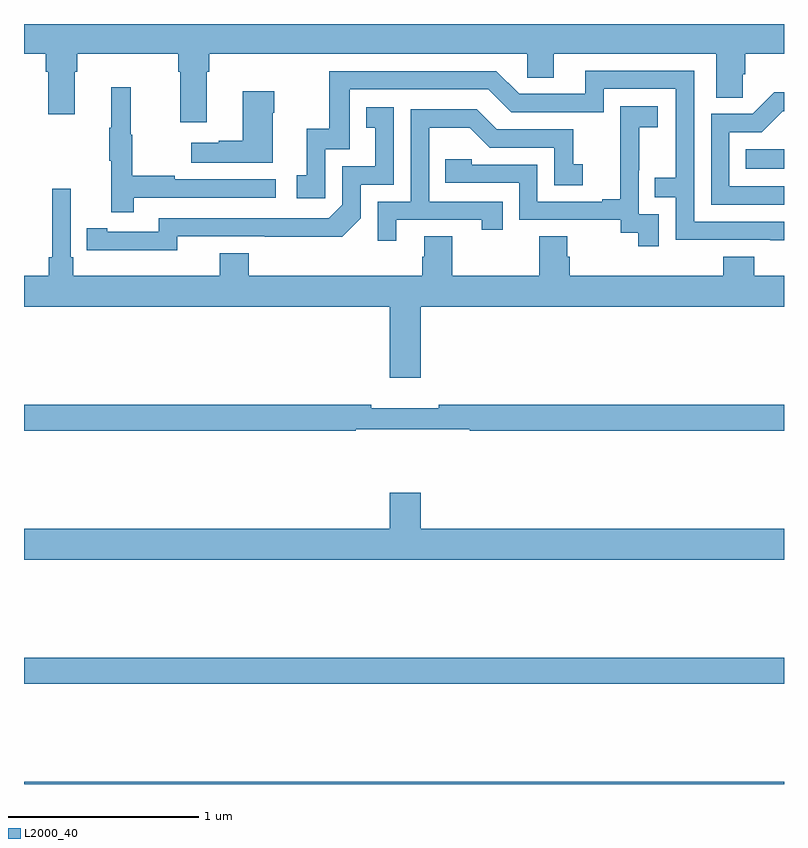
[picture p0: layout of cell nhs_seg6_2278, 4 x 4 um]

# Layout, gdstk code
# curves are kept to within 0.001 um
import gdstk
lib = gdstk.Library(unit=1e-6, precision=1e-09)
def R(c, l, rs):  # rectangles x0, y0, x1, y1
    for r in rs: c.add(gdstk.rectangle(r[:2], r[2:], *l))
def P(c, l, *ps):  # polygons
    for p in ps: c.add(gdstk.Polygon(p, *l))
L2000_40 = (2000, 40)

nhs_seg6_2278 = lib.new_cell('nhs_seg6_2278')
R(nhs_seg6_2278, L2000_40, [(247,935.5,251,935.512), (247,936.028,251,936.164), (250.798,938.738,251,938.842)])
P(nhs_seg6_2278, L2000_40, [(247.963,939.248),(247.976,939.248),(247.976,939.344),(249.648,939.344),(249.648,939.217),(249.787,939.217),(249.787,939.344),(250.643,939.344),(250.643,939.112),(250.782,939.112),(250.782,939.235),(250.796,939.235),(250.796,939.344),(251,939.344),(251,939.5),(247,939.5),(247,939.344),(247.115,939.344),(247.115,939.248),(247.127,939.248),(247.127,939.024),(247.267,939.024),(247.267,939.248),(247.28,939.248),(247.28,939.344),(247.811,939.344),(247.811,939.248),(247.823,939.248),(247.823,938.982),(247.963,938.982)],
  [(251,938.46),(250.527,938.46),(250.527,939.255),(249.953,939.255),(249.953,939.132),(249.606,939.132),(249.486,939.252),(248.607,939.252),(248.607,938.95),(248.489,938.95),(248.489,938.703),(248.436,938.703),(248.436,938.583),(248.586,938.583),(248.586,938.841),(248.715,938.841),(248.715,939.156),(249.444,939.156),(249.564,939.036),(250.05,939.036),(250.05,939.159),(250.431,939.159),(250.431,938.69),(250.321,938.69),(250.321,938.589),(250.431,938.589),(250.431,938.364),(251,938.363)],
  [(247.577,938.586),(248.326,938.586),(248.326,938.682),(247.793,938.682),(247.793,938.702),(247.57,938.702),(247.57,938.916),(247.562,938.916),(247.562,939.166),(247.46,939.166),(247.46,938.953),(247.449,938.953),(247.449,938.779),(247.46,938.779),(247.46,938.508),(247.577,938.508)],
  [(248.308,939.032),(248.316,939.032),(248.316,939.145),(248.15,939.145),(248.15,938.885),(248.024,938.885),(248.024,938.875),(247.881,938.875),(247.881,938.771),(248.308,938.771)],
  [(251,938.646),(250.713,938.646),(250.713,938.931),(250.882,938.931),(250.993,939.042),(251,939.042),(251,939.14),(250.949,939.14),(250.836,939.027),(250.617,939.027),(250.617,938.55),(251,938.55)],
  [(250.341,938.499),(250.236,938.499),(250.236,938.729),(250.238,938.729),(250.238,938.957),(250.336,938.957),(250.336,939.067),(250.138,939.067),(250.138,938.861),(250.139,938.861),(250.139,938.578),(250.043,938.578),(250.043,938.565),(249.702,938.565),(249.702,938.76),(249.357,938.76),(249.357,938.787),(249.217,938.787),(249.217,938.664),(249.606,938.664),(249.606,938.469),(250.14,938.469),(250.14,938.401),(250.233,938.401),(250.233,938.331),(250.341,938.331)],
  [(247.806,938.382),(248.674,938.381),(248.772,938.478),(248.772,938.655),(248.946,938.655),(248.946,939.061),(248.8,939.061),(248.8,938.955),(248.849,938.955),(248.849,938.751),(248.676,938.751),(248.676,938.55),(248.604,938.478),(247.71,938.478),(247.71,938.406),(247.438,938.406),(247.438,938.426),(247.33,938.426),(247.33,938.31),(247.806,938.309)],
  [(248.959,938.469),(249.41,938.469),(249.41,938.418),(249.521,938.418),(249.521,938.565),(249.132,938.565),(249.132,938.954),(249.346,938.954),(249.45,938.85),(249.792,938.85),(249.792,938.652),(249.94,938.652),(249.94,938.761),(249.891,938.761),(249.891,938.946),(249.487,938.946),(249.382,939.051),(249.036,939.051),(249.036,938.565),(248.862,938.565),(248.862,938.358),(248.959,938.358)],
  [(249.712,938.384),(249.712,938.176),(249.255,938.176),(249.255,938.384),(249.107,938.384),(249.107,938.274),(249.095,938.274),(249.095,938.176),(248.183,938.176),(248.183,938.293),(248.03,938.293),(248.03,938.176),(247.259,938.176),(247.259,938.272),(247.245,938.272),(247.245,938.632),(247.148,938.632),(247.148,938.272),(247.129,938.272),(247.129,938.176),(247,938.176),(247,938.012),(248.924,938.012),(248.924,937.638),(249.088,937.638),(249.088,938.012),(251,938.012),(251,938.176),(250.844,938.176),(250.844,938.275),(250.679,938.275),(250.679,938.176),(249.872,938.176),(249.872,938.274),(249.859,938.274),(249.859,938.384)],
  [(248.745,937.368),(249.345,937.368),(249.345,937.36),(251,937.36),(251,937.496),(249.184,937.496),(249.184,937.477),(248.828,937.477),(248.828,937.496),(247,937.496),(247,937.36),(248.745,937.36)],
  [(251,936.844),(249.088,936.844),(249.088,937.033),(248.924,937.033),(248.924,936.844),(247,936.844),(247,936.68),(251,936.68)])

lib.write_gds('nhs_seg6_2278.gds')
